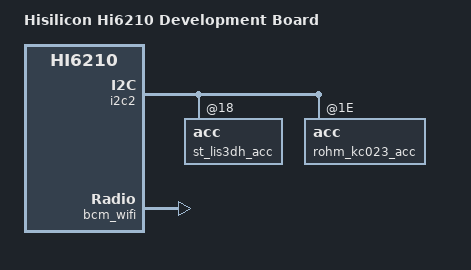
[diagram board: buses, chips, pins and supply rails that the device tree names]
/*
 *  Copyright (C) 2014 Hisilicon Ltd.
 *  Author: Bintian Wang <bintian.wang@huawei.com>
 *
 *  This program is free software; you can redistribute it and/or modify
 *  it under the terms of the GNU General Public License version 2 as
 *  publishhed by the Free Software Foundation.
 */

/dts-v1/;
/memreserve/ 0x07000000 0x00400000;
/include/ "CHERRY_PLUS_R2_UL00_VB_config.dtsi"
/include/ "CHERRY_PLUS_R2_AS00_VB_pin.dtsi"
/include/ "CHERRY_PLUS_R2_AS00_VB_gpio_logic.dtsi"
/include/ "CHERRY_PLUS_R2_AS00_VB_pmic.dtsi"
/include/ "CHERRY_PLUS_R2_AS00_VB_charger.dtsi"
/ {
	model = "Hisilicon Hi6210 Development Board";
	compatible = "hisilicon,hi6210";
	hisi,boardid = <0 7 9 0>;
	hisi,boardname = "CHERRY_PLUS_R2_AS00_VB";
        hisi,modem_id = <0x3DB01500>;
	hisi,product_name = "CHERRY_PLUS_AS00";
    
    boardinfo{
	factory_product_name = "HL4CHRPLSL12MAG";
	normal_product_name = "Che2-L12";
	};

    amba {
	i2c2: i2c@f7102000 {
			st_lis3dh_acc:acc@18{
				axis_map_x=<0>;
				axis_map_y=<1>;
				axis_map_z=<2>;
				negate_x=<0>;
				negate_y=<1>;
				negate_z=<1>;
				status = "ok";
			};
			rohm_kc023_acc:acc@1E{
				axis_map_x=<0>;
				axis_map_y=<1>;
				axis_map_z=<2>;
				negate_x=<0>;
				negate_y=<1>;
				negate_z=<1>;
				status = "ok";
			};
		};
	};

	bcm_wifi {
		wifi_nvram_name = "/vendor/firmware/nvram_CHERRY_PLUS_AS00.txt";
		status = "ok";
	};
};
